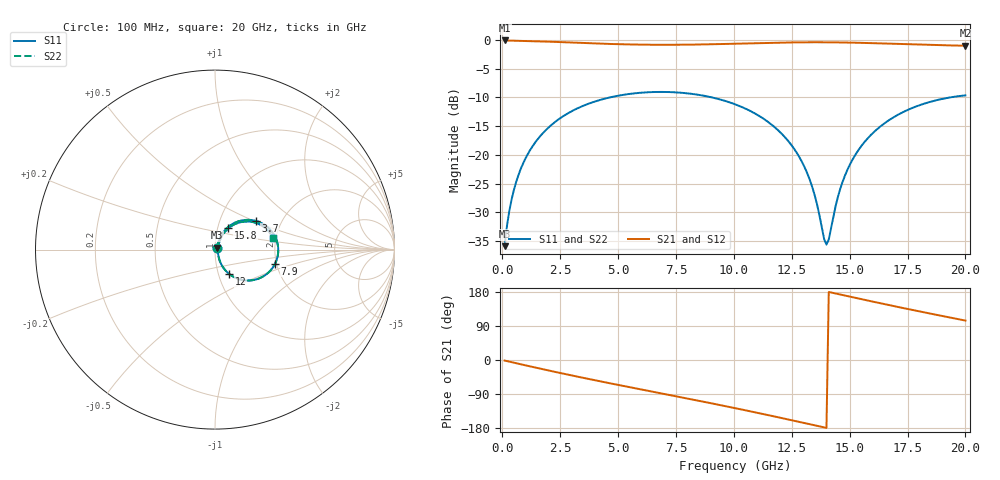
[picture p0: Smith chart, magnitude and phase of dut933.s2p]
! Touchstone file exported from HFSS 2026.1.0
!  File:  C:/ffzhzh/LocalFiles/Ansys_Project_Files/temp_train_TSV_RDL_933_1783280908_38820.aedt
!  Generated:  03:58:43 AM Jul  6, 2026
!  Design:  TSV_RDL
!  Project:  temp_train_TSV_RDL_933_1783280908_38820
! Variables:
!  h_bsmrdl = 3.72um
!  h_ox = 20um
!  h_rdl = 5um
!  h_sub = 75.06um
!  h_tmrdl = 5.96um
!  h_tsv = 75.06um
!  h_via = 3um
!  l_bsmrdl = 128.33um
!  l_sub = 4443.11um
!  l_tmrdl = 878.41um
!  m_sub = 200um
!  pitch = 43.13um
!  r_tsv = 7.14um
!  s_tmrdl = 10um
!  w_bsmrdl = 21.08um
!  w_sub = 500um
!  w_tmrdl = 27.08um
!  x_tsv_center1 = 891.95um
!  x_tsv_center2 = 1041.36um
!  x_tsv_center3 = 1946.85um
!  x_tsv_center4 = 2096.26um
!  x_tsv_center5 = 3001.75um
!  x_tsv_center6 = 3151.16um
# GHz S MA R 50.000000
! Terminal data exported
! Port[1] = TM_RDL1_1_T1
! Port[2] = TM_RDL5_1_T1
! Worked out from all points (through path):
!   200 points, 100 MHz to 20 GHz, reference 50 ohm
!   highest |S21| = -0.11 dB at 100 MHz (marker M1); lowest = -1.0 dB at 20 GHz (marker M2)
!   group delay of S21, straight-line fit = 35.4 ps
!   lowest |S11| = -35.9 dB at 100 MHz (marker M3), VSWR 1.03, Z = 51.2 + j1.06 ohm
!   |S11| at or under -10 dB: start of sweep to 4.663 GHz; 9.038 GHz to 19.36 GHz (10.32 GHz wide, 72.7 % of centre)
!   |S22| runs from -35.9 to -9.1 dB; largest |S21 - S12| = 2.3e-14
!   S11 on the Smith chart (normalised r, x): 100 MHz: 1.02, +0.02; 3.7 GHz: 1.48, +0.51; 7.9 GHz: 1.97, -0.35; 12 GHz: 1.13, -0.31; 15.8 GHz: 1.13, +0.27; 20 GHz: 1.93, +0.28
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0.1  0.01605 40.1  0.9879 -1.5  0.9879 -1.5  0.01605 40.1
! Gamma 0 0 0 0
! Port Impedance 50 0 50 0
0.3  0.03222 60.6  0.9859 -4.3  0.9859 -4.3  0.03222 60.6
0.5  0.04939 65.9  0.9844 -7.1  0.9844 -7.1  0.04939 65.9
1.1  0.1014 65.1  0.9783 -15.4  0.9783 -15.4  0.1014 65.1
2.1  0.1804 54.5  0.9629 -29.0  0.9629 -29.0  0.1804 54.5
3.5  0.2671 37.7  0.9383 -47.2  0.9383 -47.2  0.2671 37.7
3.7  0.2771 35.3  0.935 -49.7  0.935 -49.7  0.2771 35.3
5.2  0.3319 17.7  0.9149 -68.1  0.9149 -68.1  0.3319 17.7
6.8  0.3524 -0.5  0.9058 -87.3  0.9058 -87.3  0.3524 -0.5
7.9  0.3441 -13.1  0.9077 -100.5  0.9077 -100.5  0.3441 -13.1
10.1  0.2728 -38.5  0.9265 -127.6  0.9265 -127.6  0.2728 -38.5
12  0.1573 -59.8  0.9464 -152.3  0.9464 -152.3  0.1573 -59.7
12.8  0.09772 -66.4  0.9515 -163.0  0.9515 -163.0  0.0977 -66.4
13.4  0.05142 -65.3  0.953 -171.1  0.953 -171.1  0.05142 -65.1
14  0.01658 -2.4  0.9524 -179.2  0.9524 -179.2  0.01669 -2.2
14.1  0.01839 22.4  0.9521 179.5  0.9521 179.5  0.01852 22.4
14.5  0.04347 59.1  0.9502 174.1  0.9502 174.1  0.04355 59.0
14.8  0.06612 63.1  0.9482 170.0  0.9482 170.0  0.06619 63.0
15.8  0.1404 57.9  0.9384 156.7  0.9384 156.7  0.1405 57.9
16.7  0.2002 48.6  0.9268 144.9  0.9268 144.9  0.2003 48.6
18.3  0.2819 30.5  0.9052 124.7  0.9052 124.7  0.2819 30.5
20  0.329 11.3  0.8895 104.0  0.8895 104.0  0.329 11.3
